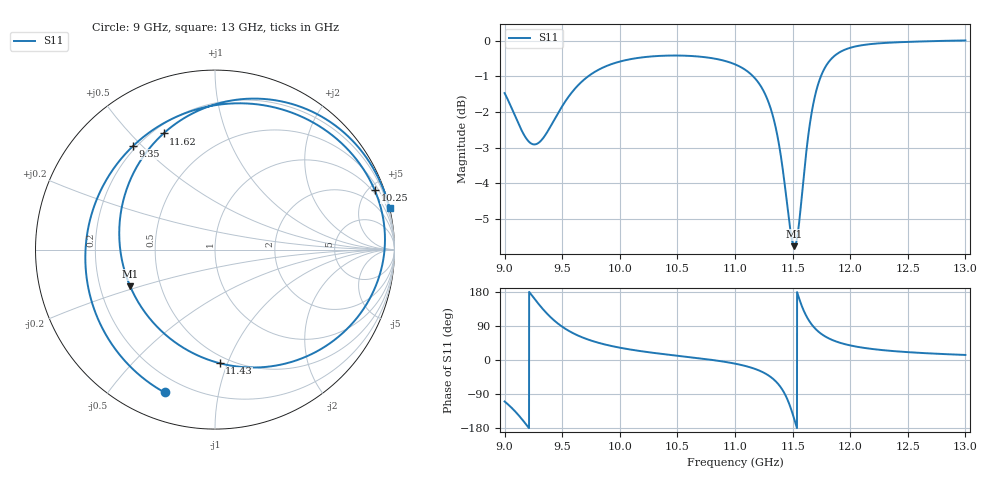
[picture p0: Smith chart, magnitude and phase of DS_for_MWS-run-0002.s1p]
! TOUCHSTONE file generated by CST DESIGN STUDIO
! Date and time: Tue Feb  4 16:26:35 2025
! Project name: C:\Work\MatlabApps\UnitCellOptimizationMatlab\CST\unitcell.cst
! Tree item: Tasks\Sweep1\SPara1\S-Parameters
! Header version: 2024
! Port assignment regex: !\s*Touchstone port\s*([0-9]+)\s*=\s*(CST MWS port|CST DES external port|CST DES block port)\s*(.+)\s* \(\"(.*)\"\)(\s*mode\s*([0-9]+))?.*
! Touchstone port assignment:
! Touchstone port 1 = CST DES external port 1 ("")
# GHz S MA R 50
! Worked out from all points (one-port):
!   4001 points, 9 GHz to 13 GHz, reference 50 ohm
!   lowest |S11| = -5.8 dB at 11.52 GHz (marker M1), VSWR 3.12, Z = 16.6 - j9.23 ohm
!   |S11| at or under -10 dB: nowhere
!   S11 on the Smith chart (normalised r, x): 9 GHz: 0.13, -0.70; 9.35 GHz: 0.19, +0.47; 10.25 GHz: 0.81, +5.44; 11.43 GHz: 0.44, -0.94; 11.62 GHz: 0.24, +0.62; 13 GHz: -0.02, +8.56
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9  0.8442 -109.4
9.086  0.7873 -133.9
9.187  0.7296 -170.1
9.262  0.7153 160.5
9.35  0.7359 128.3
9.421  0.7693 106.8
9.5  0.8092 87.9
9.607  0.855 68.8
9.719  0.8895 54.6
10  0.9346 32.5
10.253  0.9495 20.4
10.5  0.953 11.2
11  0.9263 -9.6
11.156  0.8915 -21.7
11.267  0.8376 -36.3
11.352  0.7571 -55.8
11.429  0.6335 -87.7
11.465  0.5664 -111.4
11.5  0.5208 -141.8
11.515  0.5151 -156.6
11.564  0.5699 155.8
11.623  0.7077 113.9
11.689  0.8292 85.3
11.785  0.9188 61.8
11.879  0.9562 48.7
12  0.9771 38.5
12.5  0.9959 20.7
13  1 13.3
